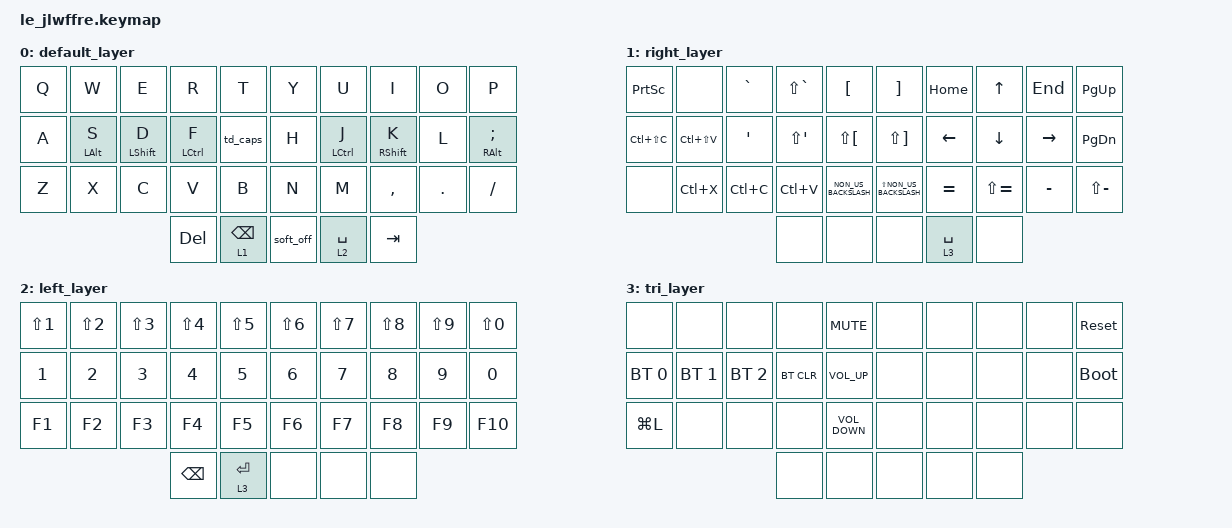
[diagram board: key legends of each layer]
/*
 * Copyright (c) 2022 The ZMK Contributors
 *
 * SPDX-License-Identifier: MIT
 */

#include <behaviors.dtsi>
#include <dt-bindings/zmk/keys.h>
#include <dt-bindings/zmk/bt.h>

/ {
    behaviors {
        hm: homerow_mods {
            compatible = "zmk,behavior-hold-tap";
            #binding-cells = <2>;
            flavor = "tap-preferred";
            tapping-term-ms = <200>;
            quick-tap-ms = <100>;
            bindings = <&kp>, <&kp>;

            label = "homerow";
        };

        td_caps: td_caps {
            compatible = "zmk,behavior-tap-dance";
            label = "TD_CAPS";
            #binding-cells = <0>;
            bindings = <&kp G>, <&kp CAPS>;
        };
    };

    conditional_layers { compatible = "zmk,conditional-layers"; };

    combos {
        compatible = "zmk,combos";

        CMB_ESC {
            bindings = <&kp ESCAPE>;
            key-positions = <0 1>;
        };

        CMB_GUI {
            bindings = <&kp LEFT_GUI>;
            key-positions = <24 25>;
        };
    };

    keymap {
        compatible = "zmk,keymap";

        default_layer {
            bindings = <
&kp Q  &kp W           &kp E             &kp R               &kp T              &kp Y        &kp U               &kp I              &kp O    &kp P
&kp A  &hm LEFT_ALT S  &hm LEFT_SHIFT D  &hm LEFT_CONTROL F  &td_caps           &kp H        &hm LEFT_CONTROL J  &hm RIGHT_SHIFT K  &kp L    &hm RIGHT_ALT SEMICOLON
&kp Z  &kp X           &kp C             &kp V               &kp B              &kp N        &kp M               &kp COMMA          &kp DOT  &kp FSLH
                                         &kp DELETE          &lt 1 BACKSPACE    &soft_off &lt 2 SPACE  &kp TAB
            >;
        };

        right_layer {
            bindings = <
&kp PRINTSCREEN  &none          &kp GRAVE  &kp LS(GRAVE)  &kp LEFT_BRACKET        &kp RIGHT_BRACKET         &kp HOME   &kp UP_ARROW    &kp END    &kp PAGE_UP
&kp LC(LS(C))    &kp LC(LS(V))  &kp SQT    &kp LS(SQT)    &kp LS(LEFT_BRACKET)    &kp LS(RIGHT_BRACKET)     &kp LEFT   &kp DOWN_ARROW  &kp RIGHT  &kp PAGE_DOWN
&none            &kp LC(X)      &kp LC(C)  &kp LC(V)      &kp NON_US_BACKSLASH    &kp LS(NON_US_BACKSLASH)  &kp EQUAL  &kp LS(EQUAL)   &kp MINUS  &kp LS(MINUS)
                                           &none          &none                 &none  &lt 3 SPACE               &none
            >;
        };

        left_layer {
            bindings = <
&kp LS(NUMBER_1)  &kp LS(NUMBER_2)  &kp LS(NUMBER_3)  &kp LS(NUMBER_4)  &kp LS(N5)     &kp LS(NUMBER_6)  &kp LS(N7)  &kp LS(N8)  &kp LS(N9)  &kp LS(N0)
&kp NUMBER_1      &kp NUMBER_2      &kp NUMBER_3      &kp NUMBER_4      &kp N5         &kp NUMBER_6      &kp N7      &kp N8      &kp N9      &kp N0
&kp F1            &kp F2            &kp F3            &kp F4            &kp F5         &kp F6            &kp F7      &kp F8      &kp F9      &kp F10
                                                      &kp BACKSPACE     &lt 3 ENTER    &none &none             &none
            >;
        };

        tri_layer {
            bindings = <
&none         &none         &none         &none       &kp C_MUTE           &none  &none  &none  &none  &sys_reset
&bt BT_SEL 0  &bt BT_SEL 1  &bt BT_SEL 2  &bt BT_CLR  &kp C_VOLUME_UP      &none  &none  &none  &none  &bootloader
&kp LG(L)     &none         &none         &none       &kp C_VOLUME_DOWN    &none  &none  &none  &none  &none
                                          &none       &none                &none &none  &none
            >;
        };
    };

    kscan: kscan {
        compatible = "zmk,kscan-gpio-matrix";
        diode-direction = "col2row";
        wakeup-source;
    };
};
